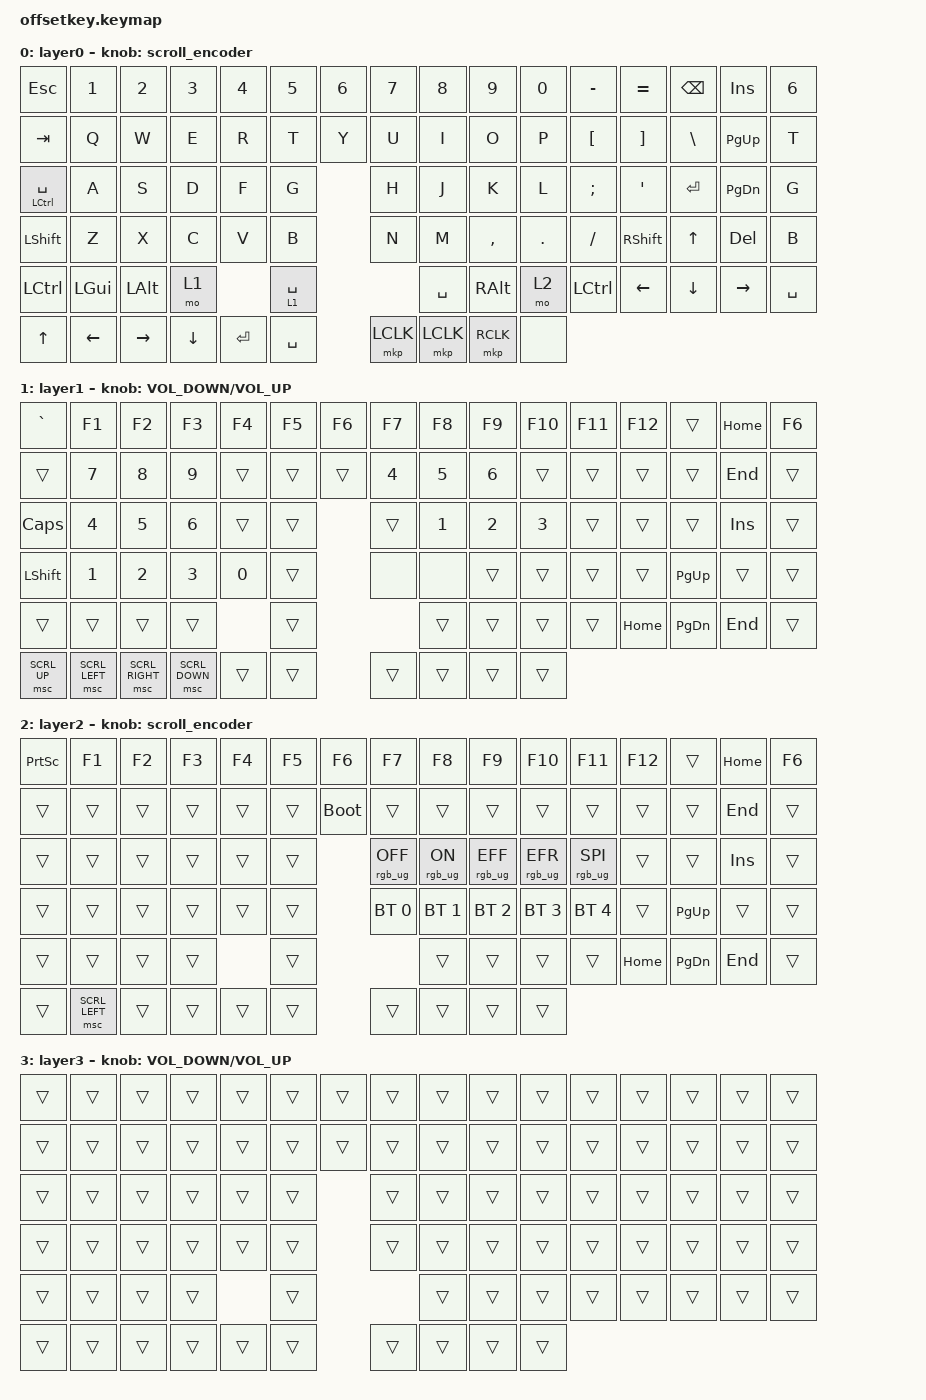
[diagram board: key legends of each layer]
#define ZMK_POINTING_DEFAULT_MOVE_VAL 600  // 600
#define ZMK_POINTING_DEFAULT_SCRL_VAL 50    // 10

#define BASE 0
#define LOWER 1
#define MOUSE_KEYS 2
#define MOUSE_TP 3
#define MOUSE_TP_SET 4

#include <zephyr/dt-bindings/input/input-event-codes.h>
#include <behaviors/toggle_io.dtsi>
#include <behaviors/on_io.dtsi>
#include <behaviors/off_io.dtsi>
#include <input/processors.dtsi>
#include <behaviors.dtsi>
#include <dt-bindings/zmk/bt.h>
#include <dt-bindings/zmk/keys.h>
#include <dt-bindings/zmk/pointing.h>
#include <dt-bindings/zmk/rgb.h>

/ {
    zip_scroll_scaler: zip_scroll_scaler {
        compatible = "zmk,input-processor-scaler";
        #input-processor-cells = <2>;
        type = <INPUT_EV_REL>;
        codes = <INPUT_REL_WHEEL INPUT_REL_HWHEEL>;
        track-remainders;
    };
};


&mmv_input_listener { input-processors = <&zip_xy_scaler 1 64>; };

// &msc_input_listener { input-processors = <&zip_scroll_scaler 1 1>; };

&msc {
    acceleration-exponent = <0>;      // 0
    time-to-max-speed-ms = <100>;       // 300
    delay-ms = <0>;                   // 0
};

&mmv {
    time-to-max-speed-ms = <100>;
    acceleration-exponent = <1>;
};

/ {
    scroll_encoder: scroll_encoder {
        compatible = "zmk,behavior-sensor-rotate";
        #sensor-binding-cells = <0>;
        bindings = <&msc SCRL_UP>, <&msc SCRL_DOWN>;

        tap-ms = <100>;
        label = "scroll";
    };

    behaviors {
        ltq: ltq {
            compatible = "zmk,behavior-hold-tap";
            label = "LTQ";
            bindings = <&mo>, <&kp>;

            #binding-cells = <2>;
            tapping-term-ms = <200>;
            quick-tap-ms = <180>;
        };

        wheel: wheel {
            compatible = "zmk,behavior-sensor-rotate-var";
            label = "WHEEL";
            #sensor-binding-cells = <2>;
            bindings = <&msc>, <&msc>;
        };

        as: auto_shift {
            compatible = "zmk,behavior-hold-tap";
            label = "AUTO_SHIFT";
            #binding-cells = <2>;
            tapping-term-ms = <175>;      // 대문자/기호로 전환되는 시간 (취향에 따라 150~200 사이 조절)
            quick-tap-ms = <150>;         // 연타 시 대문자 방지
            flavor = "tap-preferred";
            bindings = <&kp>, <&kp>;
        };
    };

    combos {
        compatible = "zmk,combos";

        ralt {
            bindings = <&kp RALT>;
            key-positions = <34 35>;
        };

        caps {
            bindings = <&kp CAPSLOCK>;
            key-positions = <18 19>;
        };

        cut {
            bindings = <&kp LC(X)>;
            key-positions = <48 49>;
        };

        copy {
            bindings = <&kp LC(C)>;
            key-positions = <49 50>;
        };

        paste {
            bindings = <&kp LC(V)>;
            key-positions = <50 51>;
        };

        reset_left {
            bindings = <&bootloader>;
            key-positions = <0 1 2>;
        };

        reset_right {
            bindings = <&bootloader>;
            key-positions = <14 12 13>;
        };
    };

    keymap {
        compatible = "zmk,keymap";

        BASE {
            bindings = <
&kp ESC          &kp N1          &kp N2        &kp N3          &kp N4     &kp N5       &kp N6      &kp N7     &kp N8     &kp N9         &kp N0   &kp MINUS  &kp EQUAL        &kp BSPC      &kp INS                   &kp NUMBER_6
&kp TAB          &kp Q           &kp W         &kp E           &kp R      &kp T                    &kp Y      &kp U      &kp I          &kp O    &kp P      &kp LBKT         &kp RBKT      &kp BSLH       &kp PG_UP  &kp T
&mt LCTRL SPACE  &kp A           &kp S         &kp D           &kp F      &kp G                    &kp H      &kp J      &kp K          &kp L    &kp SEMI   &kp APOS         &kp ENTER     &kp PAGE_DOWN             &kp G
&kp LSHFT        &kp Z           &kp X         &kp C           &kp V      &kp B                    &kp N      &kp M      &kp COMMA      &kp DOT  &kp FSLH   &kp RIGHT_SHIFT  &kp UP_ARROW  &kp DELETE                &kp B
&kp LCTRL        &kp LEFT_GUI    &kp LEFT_ALT  &mo 1                      &lt 1 SPACE                         &kp SPACE  &kp RIGHT_ALT  &mo 2    &kp LCTRL  &kp LEFT         &kp DOWN      &kp RIGHT                 &kp SPACE
&kp UP_ARROW     &kp LEFT_ARROW  &kp RIGHT     &kp DOWN_ARROW  &kp ENTER  &kp SPACE                &mkp LCLK  &mkp LCLK  &mkp RCLK      &none
            >;

            label = "layer0";
            sensor-bindings = <&scroll_encoder>;
        };

        layer_1 {
            bindings = <
&kp GRAVE     &kp F1          &kp F2           &kp F3          &kp F4  &kp F5  &kp F6      &kp F7  &kp F8        &kp F9        &kp F10       &kp F11  &kp F12   &trans         &kp HOME             &kp F6
&trans        &kp N7          &kp N8           &kp N9          &trans  &trans              &trans  &kp NUMBER_4  &kp NUMBER_5  &kp NUMBER_6  &trans   &trans    &trans         &trans      &kp END  &trans
&kp CAPSLOCK  &kp NUMBER_4    &kp N5           &kp NUMBER_6    &trans  &trans              &trans  &kp NUMBER_1  &kp NUMBER_2  &kp NUMBER_3  &trans   &trans    &trans         &kp INSERT           &trans
&kp LSHFT     &kp NUMBER_1    &kp NUMBER_2     &kp NUMBER_3    &kp N0  &trans              &none   &none         &trans        &trans        &trans   &trans    &kp PG_UP      &trans               &trans
&trans        &trans          &trans           &trans                  &trans                      &trans        &trans        &trans        &trans   &kp HOME  &kp PAGE_DOWN  &kp END              &trans
&msc SCRL_UP  &msc SCRL_LEFT  &msc SCRL_RIGHT  &msc SCRL_DOWN  &trans  &trans              &trans  &trans        &trans        &trans
            >;

            label = "layer1";
            sensor-bindings = <&inc_dec_kp C_VOLUME_DOWN C_VOLUME_UP>;
        };

        layer_2 {
            bindings = <
&kp PRINTSCREEN  &kp F1          &kp F2  &kp F3  &kp F4  &kp F5  &kp F6      &kp F7           &kp F8          &kp F9           &kp F10          &kp F11          &kp F12   &trans         &kp HOME             &kp F6
&trans           &trans          &trans  &trans  &trans  &trans              &bootloader      &trans          &trans           &trans           &trans           &trans    &trans         &trans      &kp END  &trans
&trans           &trans          &trans  &trans  &trans  &trans              &rgb_ug RGB_OFF  &rgb_ug RGB_ON  &rgb_ug RGB_EFF  &rgb_ug RGB_EFR  &rgb_ug RGB_SPI  &trans    &trans         &kp INSERT           &trans
&trans           &trans          &trans  &trans  &trans  &trans              &bt BT_SEL 0     &bt BT_SEL 1    &bt BT_SEL 2     &bt BT_SEL 3     &bt BT_SEL 4     &trans    &kp PG_UP      &trans               &trans
&trans           &trans          &trans  &trans          &trans                               &trans          &trans           &trans           &trans           &kp HOME  &kp PAGE_DOWN  &kp END              &trans
&trans           &msc SCRL_LEFT  &trans  &trans  &trans  &trans              &trans           &trans          &trans           &trans
            >;

            label = "layer2";
            sensor-bindings = <&scroll_encoder>;
        };

        layer_3 {
            bindings = <
&trans  &trans  &trans  &trans  &trans  &trans  &trans      &trans  &trans  &trans  &trans  &trans  &trans  &trans  &trans          &trans
&trans  &trans  &trans  &trans  &trans  &trans              &trans  &trans  &trans  &trans  &trans  &trans  &trans  &trans  &trans  &trans
&trans  &trans  &trans  &trans  &trans  &trans              &trans  &trans  &trans  &trans  &trans  &trans  &trans  &trans          &trans
&trans  &trans  &trans  &trans  &trans  &trans              &trans  &trans  &trans  &trans  &trans  &trans  &trans  &trans          &trans
&trans  &trans  &trans  &trans          &trans                      &trans  &trans  &trans  &trans  &trans  &trans  &trans          &trans
&trans  &trans  &trans  &trans  &trans  &trans              &trans  &trans  &trans  &trans
            >;

            label = "layer3";
            sensor-bindings = <&inc_dec_kp C_VOLUME_DOWN C_VOLUME_UP>;
        };
    };
};
